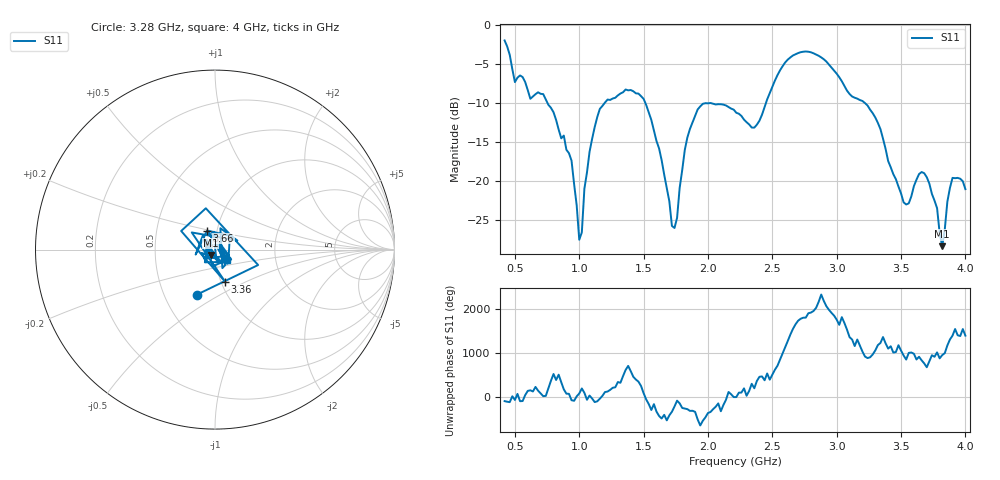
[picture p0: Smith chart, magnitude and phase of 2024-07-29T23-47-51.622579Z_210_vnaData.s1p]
!Created with skrf (http://scikit-rf.org).
# Hz S RI R 50.0
!freq ReS11 ImS11
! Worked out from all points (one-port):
!   180 points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, 420 MHz to 4 GHz, reference 50 ohm
!   lowest |S11| = -28.3 dB at 3.82 GHz (marker M1), VSWR 1.08, Z = 47.6 - j2.91 ohm
!   |S11| at or under -10 dB: 752.8 MHz to 1.198 GHz (445 MHz wide, 45.6 % of centre); 1.513 GHz to 2.451 GHz (937.8 MHz wide, 47.3 % of centre); 3.218 GHz to end of sweep
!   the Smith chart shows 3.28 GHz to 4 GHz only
!   S11 on the Smith chart (normalised r, x): 3.28 GHz: 0.72, -0.39; 3.36 GHz: 1.05, -0.39; 3.66 GHz: 0.90, +0.19; 4 GHz: 1.14, -0.13
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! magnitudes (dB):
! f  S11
! 420 MHz  -2.0
! 500 MHz  -7.3
! 720 MHz  -8.9
! 880 MHz  -14.2
! 940 MHz  -17.4
! 1 GHz  -27.5
! 1.08 GHz  -16.2
! 1.14 GHz  -11.8
! 1.32 GHz  -8.8
! 1.52 GHz  -10.3
! 1.64 GHz  -17.3
! 1.72 GHz  -25.7
! 1.76 GHz  -24.7
! 1.78 GHz  -20.8
! 1.92 GHz  -10.8
! 2.22 GHz  -11.3
! 2.36 GHz  -13.2
! 2.66 GHz  -4.0
! 2.88 GHz  -4.2
! 3.12 GHz  -9.2
! 3.28 GHz  -11.3
! 3.36 GHz  -14.6
! 3.56 GHz  -22.8
! 3.66 GHz  -18.8
! 3.78 GHz  -23.4
! 3.82 GHz  -28.3
! 3.9 GHz  -19.6
! 4 GHz  -21.0
